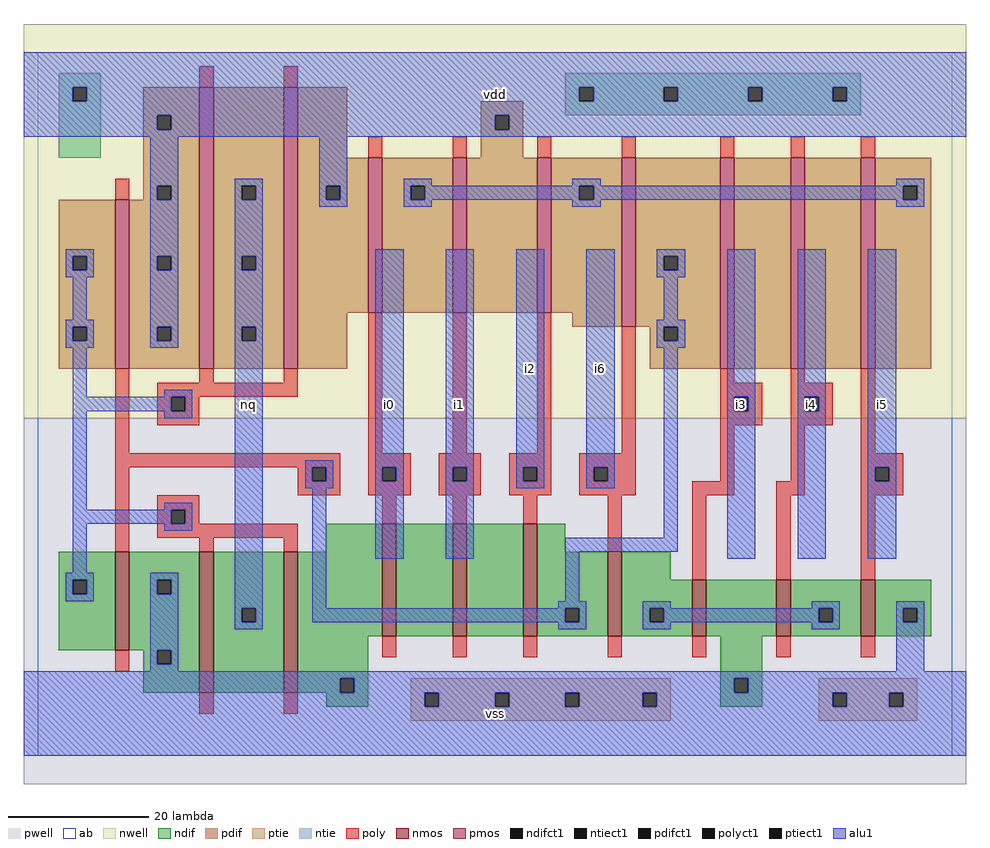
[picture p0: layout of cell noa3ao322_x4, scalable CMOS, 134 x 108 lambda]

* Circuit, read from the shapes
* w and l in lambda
.subckt noa3ao322_x4 i0 i1 i2 i3 i4 i5 i6 nq vdd vss
M1 vss n1 n2 vss nfet w=14 l=2
M2 nq n2 vss vss nfet w=20 l=2 m=2
M3 n3 i0 vss vss nfet w=16 l=2
M4 n4 i1 n3 vss nfet w=16 l=2
M5 n1 i2 n4 vss nfet w=16 l=2
M6 n5 i6 n1 vss nfet w=12 l=2
M7 vss i3 n5 vss nfet w=8 l=2
M8 n5 i4 vss vss nfet w=8 l=2
M9 vss i5 n5 vss nfet w=8 l=2
M10 vdd n1 n2 vdd pfet w=24 l=2
M11 nq n2 vdd vdd pfet w=40 l=2 m=2
M12 n6 i0 vdd vdd pfet w=22 l=2
M13 vdd i1 n6 vdd pfet w=22 l=2
M14 n6 i2 vdd vdd pfet w=22 l=2
M15 n1 i6 n6 vdd pfet w=24 l=2
M16 n7 i3 n1 vdd pfet w=30 l=2
M17 n8 i4 n7 vdd pfet w=30 l=2
M18 n6 i5 n8 vdd pfet w=30 l=2
.ends

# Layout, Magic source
magic
tech scmos
<< ab >>
rect 0 0 130 100
<< nwell >>
rect -2 48 132 104
<< pwell >>
rect -2 -4 132 48
<< poly >>
rect 23 95 25 98
rect 35 95 37 98
rect 11 79 13 82
rect 47 85 49 88
rect 59 85 61 88
rect 71 85 73 88
rect 83 85 85 88
rect 97 85 99 88
rect 107 85 109 88
rect 117 85 119 88
rect 11 43 13 55
rect 23 53 25 55
rect 35 53 37 55
rect 17 51 37 53
rect 17 49 19 51
rect 21 49 23 51
rect 17 47 23 49
rect 47 43 49 63
rect 59 43 61 63
rect 71 43 73 63
rect 83 43 85 61
rect 11 41 43 43
rect 11 29 13 41
rect 37 39 39 41
rect 41 39 43 41
rect 37 37 43 39
rect 47 41 53 43
rect 47 39 49 41
rect 51 39 53 41
rect 47 37 53 39
rect 57 41 63 43
rect 57 39 59 41
rect 61 39 63 41
rect 57 37 63 39
rect 67 41 73 43
rect 67 39 69 41
rect 71 39 73 41
rect 67 37 73 39
rect 77 41 85 43
rect 77 39 79 41
rect 81 39 85 41
rect 97 53 99 55
rect 107 53 109 55
rect 97 51 103 53
rect 97 49 99 51
rect 101 49 103 51
rect 97 47 103 49
rect 107 51 113 53
rect 107 49 109 51
rect 111 49 113 51
rect 107 47 113 49
rect 97 39 99 47
rect 107 39 109 47
rect 77 37 85 39
rect 93 37 99 39
rect 105 37 109 39
rect 117 43 119 55
rect 117 41 123 43
rect 117 39 119 41
rect 121 39 123 41
rect 117 37 123 39
rect 17 35 23 37
rect 17 33 19 35
rect 21 33 23 35
rect 49 33 51 37
rect 59 33 61 37
rect 69 33 71 37
rect 17 31 37 33
rect 23 29 25 31
rect 35 29 37 31
rect 11 12 13 15
rect 81 29 83 37
rect 93 25 95 37
rect 105 25 107 37
rect 117 25 119 37
rect 49 14 51 17
rect 59 14 61 17
rect 69 14 71 17
rect 81 14 83 17
rect 93 14 95 17
rect 105 14 107 17
rect 117 14 119 17
rect 23 6 25 9
rect 35 6 37 9
<< ndif >>
rect 41 29 49 33
rect 3 25 11 29
rect 3 23 5 25
rect 7 23 11 25
rect 3 15 11 23
rect 13 25 23 29
rect 13 23 17 25
rect 19 23 23 25
rect 13 15 23 23
rect 15 13 17 15
rect 19 13 23 15
rect 15 9 23 13
rect 25 21 35 29
rect 25 19 29 21
rect 31 19 35 21
rect 25 9 35 19
rect 37 17 49 29
rect 51 17 59 33
rect 61 17 69 33
rect 71 29 75 33
rect 71 21 81 29
rect 71 19 75 21
rect 77 19 81 21
rect 71 17 81 19
rect 83 25 90 29
rect 83 21 93 25
rect 83 19 87 21
rect 89 19 93 21
rect 83 17 93 19
rect 95 17 105 25
rect 107 21 117 25
rect 107 19 111 21
rect 113 19 117 21
rect 107 17 117 19
rect 119 21 127 25
rect 119 19 123 21
rect 125 19 127 21
rect 119 17 127 19
rect 37 11 47 17
rect 97 11 103 17
rect 37 9 43 11
rect 45 9 47 11
rect 41 7 47 9
rect 97 9 99 11
rect 101 9 103 11
rect 97 7 103 9
<< pdif >>
rect 15 91 23 95
rect 15 89 17 91
rect 19 89 23 91
rect 15 81 23 89
rect 15 79 17 81
rect 19 79 23 81
rect 3 71 11 79
rect 3 69 5 71
rect 7 69 11 71
rect 3 61 11 69
rect 3 59 5 61
rect 7 59 11 61
rect 3 55 11 59
rect 13 71 23 79
rect 13 69 17 71
rect 19 69 23 71
rect 13 61 23 69
rect 13 59 17 61
rect 19 59 23 61
rect 13 55 23 59
rect 25 81 35 95
rect 25 79 29 81
rect 31 79 35 81
rect 25 71 35 79
rect 25 69 29 71
rect 31 69 35 71
rect 25 61 35 69
rect 25 59 29 61
rect 31 59 35 61
rect 25 55 35 59
rect 37 85 44 95
rect 63 91 69 93
rect 63 89 65 91
rect 67 89 69 91
rect 63 85 69 89
rect 37 81 47 85
rect 37 79 41 81
rect 43 79 47 81
rect 37 63 47 79
rect 49 81 59 85
rect 49 79 53 81
rect 55 79 59 81
rect 49 63 59 79
rect 61 63 71 85
rect 73 81 83 85
rect 73 79 77 81
rect 79 79 83 81
rect 73 63 83 79
rect 37 55 44 63
rect 76 61 83 63
rect 85 71 97 85
rect 85 69 89 71
rect 91 69 97 71
rect 85 61 97 69
rect 87 59 89 61
rect 91 59 97 61
rect 87 55 97 59
rect 99 55 107 85
rect 109 55 117 85
rect 119 81 127 85
rect 119 79 123 81
rect 125 79 127 81
rect 119 55 127 79
<< alu1 >>
rect -2 95 132 100
rect -2 93 5 95
rect 7 93 77 95
rect 79 93 89 95
rect 91 93 101 95
rect 103 93 113 95
rect 115 93 132 95
rect -2 91 132 93
rect -2 89 17 91
rect 19 89 65 91
rect 67 89 132 91
rect -2 88 132 89
rect 16 81 20 88
rect 16 79 17 81
rect 19 79 20 81
rect 4 71 8 72
rect 4 69 5 71
rect 7 69 8 71
rect 4 68 8 69
rect 16 71 20 79
rect 16 69 17 71
rect 19 69 20 71
rect 5 62 7 68
rect 4 61 8 62
rect 4 59 5 61
rect 7 59 8 61
rect 4 58 8 59
rect 16 61 20 69
rect 16 59 17 61
rect 19 59 20 61
rect 16 58 20 59
rect 28 81 32 82
rect 28 79 29 81
rect 31 79 32 81
rect 28 71 32 79
rect 40 81 44 88
rect 40 79 41 81
rect 43 79 44 81
rect 40 78 44 79
rect 52 81 56 82
rect 76 81 80 82
rect 122 81 126 82
rect 52 79 53 81
rect 55 79 77 81
rect 79 79 123 81
rect 125 79 126 81
rect 52 78 56 79
rect 76 78 80 79
rect 122 78 126 79
rect 28 69 29 71
rect 31 69 32 71
rect 28 61 32 69
rect 28 59 29 61
rect 31 59 32 61
rect 5 51 7 58
rect 18 51 22 52
rect 5 49 19 51
rect 21 49 22 51
rect 5 35 7 49
rect 18 48 22 49
rect 18 35 22 36
rect 5 33 19 35
rect 21 33 22 35
rect 5 26 7 33
rect 18 32 22 33
rect 4 25 8 26
rect 4 23 5 25
rect 7 23 8 25
rect 4 22 8 23
rect 16 25 20 26
rect 16 23 17 25
rect 19 23 20 25
rect 16 15 20 23
rect 28 21 32 59
rect 38 41 42 42
rect 38 39 39 41
rect 41 39 42 41
rect 38 38 42 39
rect 48 41 52 72
rect 48 39 49 41
rect 51 39 52 41
rect 28 19 29 21
rect 31 19 32 21
rect 39 21 41 38
rect 48 28 52 39
rect 58 41 62 72
rect 58 39 59 41
rect 61 39 62 41
rect 58 28 62 39
rect 68 41 72 72
rect 68 39 69 41
rect 71 39 72 41
rect 68 38 72 39
rect 78 41 82 72
rect 88 71 92 72
rect 88 69 89 71
rect 91 69 92 71
rect 88 68 92 69
rect 89 62 91 68
rect 88 61 92 62
rect 88 59 89 61
rect 91 59 92 61
rect 88 58 92 59
rect 78 39 79 41
rect 81 39 82 41
rect 78 38 82 39
rect 89 31 91 58
rect 75 29 91 31
rect 98 51 102 72
rect 98 49 99 51
rect 101 49 102 51
rect 75 22 77 29
rect 98 28 102 49
rect 108 51 112 72
rect 108 49 109 51
rect 111 49 112 51
rect 108 28 112 49
rect 118 41 122 72
rect 118 39 119 41
rect 121 39 122 41
rect 118 28 122 39
rect 74 21 78 22
rect 39 19 75 21
rect 77 19 78 21
rect 28 18 32 19
rect 74 18 78 19
rect 86 21 90 22
rect 110 21 114 22
rect 86 19 87 21
rect 89 19 111 21
rect 113 19 114 21
rect 86 18 90 19
rect 110 18 114 19
rect 122 21 126 22
rect 122 19 123 21
rect 125 19 126 21
rect 16 13 17 15
rect 19 13 20 15
rect 16 12 20 13
rect 122 12 126 19
rect -2 11 132 12
rect -2 9 43 11
rect 45 9 99 11
rect 101 9 132 11
rect -2 7 55 9
rect 57 7 65 9
rect 67 7 75 9
rect 77 7 86 9
rect 88 7 113 9
rect 115 7 121 9
rect 123 7 132 9
rect -2 0 132 7
<< ptie >>
rect 53 9 90 11
rect 53 7 55 9
rect 57 7 65 9
rect 67 7 75 9
rect 77 7 86 9
rect 88 7 90 9
rect 111 9 125 11
rect 111 7 113 9
rect 115 7 121 9
rect 123 7 125 9
rect 53 5 90 7
rect 111 5 125 7
<< ntie >>
rect 3 95 9 97
rect 75 95 117 97
rect 3 93 5 95
rect 7 93 9 95
rect 3 85 9 93
rect 75 93 77 95
rect 79 93 89 95
rect 91 93 101 95
rect 103 93 113 95
rect 115 93 117 95
rect 75 91 117 93
<< nmos >>
rect 11 15 13 29
rect 23 9 25 29
rect 35 9 37 29
rect 49 17 51 33
rect 59 17 61 33
rect 69 17 71 33
rect 81 17 83 29
rect 93 17 95 25
rect 105 17 107 25
rect 117 17 119 25
<< pmos >>
rect 11 55 13 79
rect 23 55 25 95
rect 35 55 37 95
rect 47 63 49 85
rect 59 63 61 85
rect 71 63 73 85
rect 83 61 85 85
rect 97 55 99 85
rect 107 55 109 85
rect 117 55 119 85
<< polyct1 >>
rect 19 49 21 51
rect 39 39 41 41
rect 49 39 51 41
rect 59 39 61 41
rect 69 39 71 41
rect 79 39 81 41
rect 99 49 101 51
rect 109 49 111 51
rect 119 39 121 41
rect 19 33 21 35
<< ndifct1 >>
rect 5 23 7 25
rect 17 23 19 25
rect 17 13 19 15
rect 29 19 31 21
rect 75 19 77 21
rect 87 19 89 21
rect 111 19 113 21
rect 123 19 125 21
rect 43 9 45 11
rect 99 9 101 11
<< ntiect1 >>
rect 5 93 7 95
rect 77 93 79 95
rect 89 93 91 95
rect 101 93 103 95
rect 113 93 115 95
<< ptiect1 >>
rect 55 7 57 9
rect 65 7 67 9
rect 75 7 77 9
rect 86 7 88 9
rect 113 7 115 9
rect 121 7 123 9
<< pdifct1 >>
rect 17 89 19 91
rect 17 79 19 81
rect 5 69 7 71
rect 5 59 7 61
rect 17 69 19 71
rect 17 59 19 61
rect 29 79 31 81
rect 29 69 31 71
rect 29 59 31 61
rect 65 89 67 91
rect 41 79 43 81
rect 53 79 55 81
rect 77 79 79 81
rect 89 69 91 71
rect 89 59 91 61
rect 123 79 125 81
<< labels >>
rlabel alu1 30 50 30 50 6 nq
rlabel alu1 65 6 65 6 6 vss
rlabel alu1 50 50 50 50 6 i0
rlabel alu1 70 55 70 55 6 i2
rlabel alu1 60 50 60 50 6 i1
rlabel alu1 65 94 65 94 6 vdd
rlabel alu1 80 55 80 55 6 i6
rlabel polyct1 100 50 100 50 6 i3
rlabel polyct1 110 50 110 50 6 i4
rlabel alu1 120 50 120 50 6 i5
<< end >>
